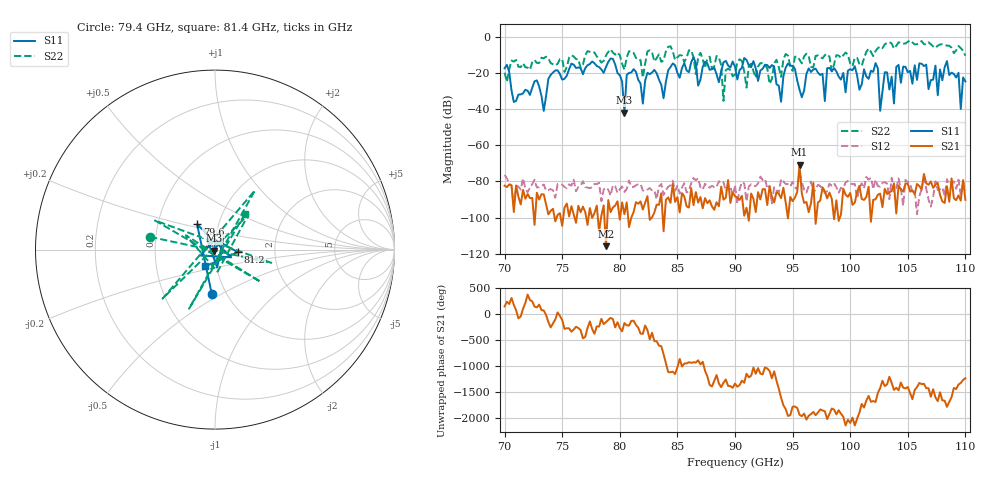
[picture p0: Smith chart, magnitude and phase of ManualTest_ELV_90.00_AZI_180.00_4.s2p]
! 11/25/2026 12:59:55 PM
! C:\ANRITSUVNA\TEMP\TEMP.S2P
! CHANNEL.1
! TR.MEASUREMENT
! RAW.DATA
# HZ S RI R 50.0
! FREQ.HZ  S11RE  S11IM  S21RE  S21IM  S12RE  S12IM  S22RE  S22IM
!; PortSelection: Port_12
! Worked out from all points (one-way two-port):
!   201 points, 70 GHz to 110 GHz, reference 50 ohm
!   highest |S21| = -70.82 dB at 95.6 GHz (marker M1); lowest = -115.9 dB at 78.8 GHz (marker M2)
!   lowest |S11| = -41.9 dB at 80.4 GHz (marker M3), VSWR 1.02, Z = 49.5 - j0.585 ohm
!   |S11| at or under -10 dB: start of sweep to end of sweep
!   |S22| runs from -35.4 to -2.0 dB; largest |S21 - S12| = 0.00044
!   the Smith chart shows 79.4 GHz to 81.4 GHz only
!   S11 on the Smith chart (normalised r, x): 79.4 GHz: 0.86, -0.45; 79.6 GHz: 0.79, +0.23; 81.2 GHz: 1.29, -0.04; 81.4 GHz: 0.88, -0.17
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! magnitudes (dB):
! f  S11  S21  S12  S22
! 70 GHz  -17.4  -82.4  -76.4  -19.8
! 73.4 GHz  -41.0  -87.2  -81.7  -11.8
! 74.2 GHz  -19.7  -95.2  -84.9  -15.2
! 76.8 GHz  -20.6  -94.0  -79.9  -15.4
! 78.8 GHz  -16.6  -115.9  -83.4  -10.3
! 79.4 GHz  -12.2  -94.4  -82.1  -8.7
! 79.6 GHz  -15.3  -93.3  -82.6  -9.8
! 80.4 GHz  -41.9  -98.1  -85.8  -18.2
! 81.2 GHz  -17.9  -97.0  -83.1  -8.9
! 81.4 GHz  -19.3  -91.5  -82.1  -11.6
! 82 GHz  -36.9  -95.6  -85.0  -22.6
! 83.4 GHz  -23.6  -93.0  -82.8  -9.7
! 88.6 GHz  -25.1  -93.7  -79.9  -11.5
! 89 GHz  -14.1  -90.1  -80.5  -35.4
! 90 GHz  -16.4  -88.2  -82.1  -20.8
! 95.6 GHz  -29.2  -70.8  -75.2  -12.6
! 96.8 GHz  -18.0  -80.8  -86.4  -16.9
! 97.8 GHz  -35.6  -85.5  -86.5  -10.1
! 98 GHz  -17.3  -89.4  -85.2  -9.5
! 103.4 GHz  -29.1  -86.0  -89.9  -2.9
! 109.6 GHz  -39.9  -90.7  -87.7  -6.2
! 110 GHz  -24.7  -90.2  -85.1  -10.4
